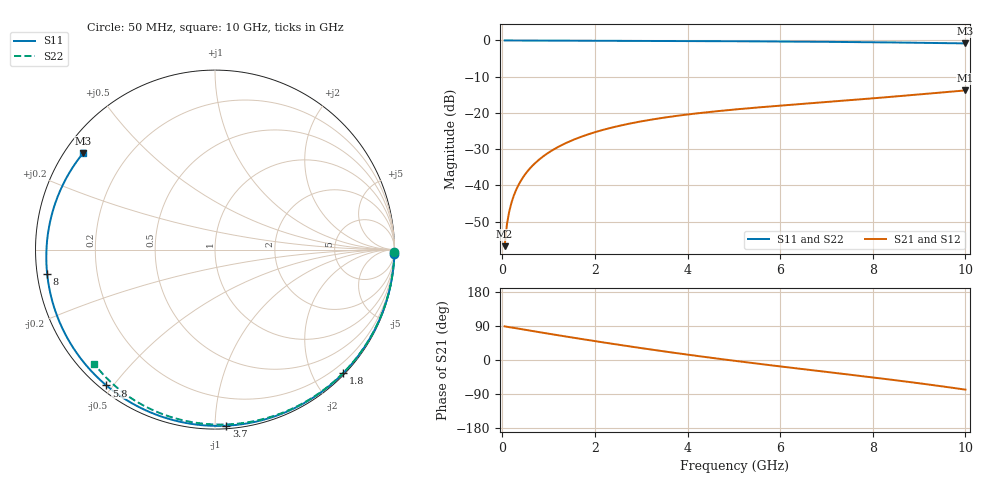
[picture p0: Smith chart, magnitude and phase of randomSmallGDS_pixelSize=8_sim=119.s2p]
! freq	dB(S11)	phase(S11)	dB(S12)	phase(S12)
!  dB(S21)	phase(S21)	dB(S22)	phase(S22)
!S-par simulation data
#  GHz  S  DB  R 50
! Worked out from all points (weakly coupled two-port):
!   200 points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, 50 MHz to 10 GHz, reference 50 ohm
!   highest |S21| = -13.79 dB at 10 GHz (marker M1); lowest = -56.8 dB at 50 MHz (marker M2)
!   lowest |S11| = -0.8 dB at 10 GHz (marker M3), VSWR 21.37, Z = 2.59 + j16.3 ohm
!   |S11| at or under -10 dB: nowhere
!   |S22| runs from -0.7 to 0.0 dB; largest |S21 - S12| = 0
!   S11 on the Smith chart (normalised r, x): 50 MHz: 0, -91; 1.8 GHz: 0.03, -2.48; 3.7 GHz: 0.02, -1.07; 5.8 GHz: 0.02, -0.48; 8 GHz: 0.03, -0.07; 10 GHz: 0.05, +0.33
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0.05  -0.00 -1.3  -56.79 88.9  -56.79 88.9  -0.00 -0.8
0.1  -0.00 -2.5  -50.76 87.7  -50.76 87.7  -0.00 -1.6
0.15  -0.00 -3.8  -47.21 86.6  -47.21 86.6  -0.00 -2.4
0.2  -0.01 -5.0  -44.70 85.7  -44.70 85.7  -0.00 -3.2
0.35  -0.01 -8.7  -39.90 82.8  -39.90 82.8  -0.01 -5.6
0.5  -0.02 -12.4  -36.84 79.6  -36.84 79.6  -0.01 -8.0
0.7  -0.02 -17.3  -33.97 75.5  -33.97 75.5  -0.02 -11.2
1  -0.03 -24.7  -30.96 69.4  -30.96 69.4  -0.02 -16.0
1.75  -0.06 -42.7  -26.38 54.6  -26.38 54.6  -0.04 -27.7
1.8  -0.07 -43.9  -26.15 53.7  -26.15 53.7  -0.05 -28.5
2.6  -0.10 -62.3  -23.35 38.6  -23.35 38.6  -0.07 -40.7
3.4  -0.13 -79.9  -21.48 24.3  -21.48 24.3  -0.10 -52.6
3.7  -0.15 -86.3  -20.93 19.2  -20.93 19.2  -0.11 -56.9
4.35  -0.18 -99.8  -19.92 8.4  -19.92 8.4  -0.14 -66.1
5.05  -0.22 -113.9  -19.02 -2.6  -19.02 -2.6  -0.17 -75.8
5.8  -0.27 -128.6  -18.20 -14.0  -18.20 -14.0  -0.21 -85.7
6.7  -0.35 -146.1  -17.29 -27.1  -17.29 -27.1  -0.27 -97.3
7.35  -0.42 -158.8  -16.65 -36.5  -16.65 -36.5  -0.32 -105.3
8  -0.49 -171.8  -15.98 -46.0  -15.98 -46.0  -0.38 -113.2
8.35  -0.54 -179.1  -15.61 -51.3  -15.61 -51.3  -0.42 -117.4
9.2  -0.67 162.6  -14.68 -64.6  -14.68 -64.6  -0.53 -127.4
10  -0.81 143.7  -13.79 -78.2  -13.79 -78.2  -0.67 -136.7
